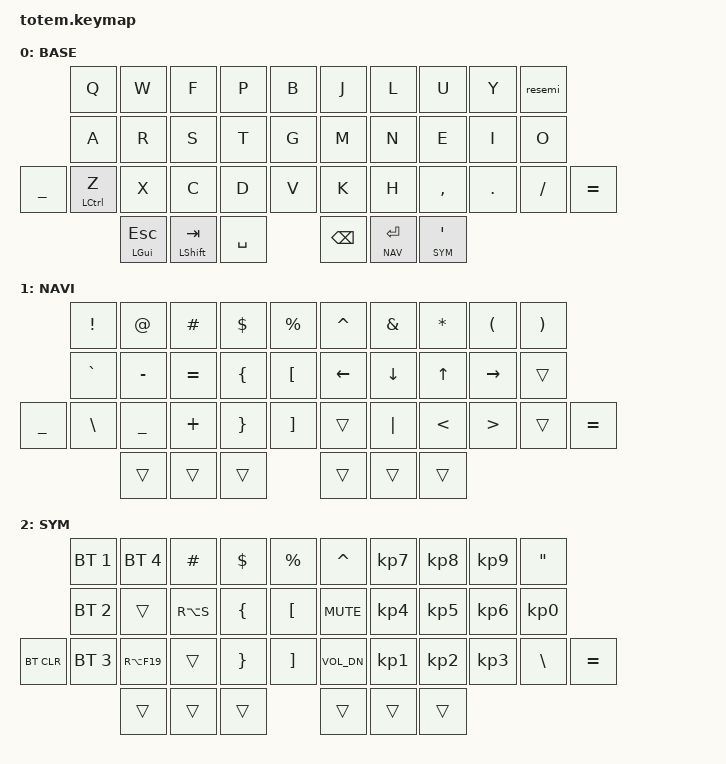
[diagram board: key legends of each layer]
//
//                                                        ▀▀▀▀▀     ▀▀▀▀▀          ▀▀█▀▀
//                                                        ▄▀▀▀▄  ▄  ▄▀▀▀▄  ▄  ▄▀▀▀▄  █  ▄▀▀▀▄
//                                                        █   █  █  █   █  █  █   █  █  █   █
//                                                         ▀▀▀   █   ▀▀▀   █   ▀▀▀   ▀   ▀▀▀
//                                                               █      ▄▄▄█▄▄▄    █   █  
//                                                               ▀      █  █  █     █▄█
//                                                             ▀▀▀▀▀    █  █  █      ▀
//                                                                      ▀  ▀  ▀
//
// ▄▄▄▄▄▄▄▄▄▄▄▄▄▄▄▄▄▄▄▄▄▄▄▄▄▄▄▄▄▄▄▄▄▄▄▄▄▄▄▄▄▄▄▄▄▄▄▄▄▄▄▄▄▄▄▄▄▄▄▄▄▄▄▄▄▄▄▄▄▄▄▄▄▄▄▄▄▄▄▄▄▄▄▄▄▄▄▄▄▄▄▄▄▄▄▄▄▄▄▄▄▄▄▄▄▄▄▄▄▄▄▄▄▄▄▄▄▄▄▄▄▄▄▄▄▄▄▄▄▄▄▄▄▄▄▄▄▄▄▄▄▄▄▄▄▄▄▄▄
       

#include <behaviors.dtsi>
#include <dt-bindings/zmk/keys.h>
#include <dt-bindings/zmk/bt.h>
#include <dt-bindings/zmk/outputs.h>

#define BASE 0
#define NAV  1
#define SYM  2

&mt {
  flavor = "balanced";
  tapping-term-ms = <140>;
};

/ {
    macros {
        macscn: macscn {
            label = "macscn";
            compatible = "zmk,behavior-macro";
            #binding-cells = <0>;
            bindings
                = <&macro_press &kp LGUI>
                , <&macro_press &kp LSHFT>
                , <&macro_tap &kp N4>
                , <&macro_release &kp LGUI>
                , <&macro_release &kp LSHFT>
                ;
        };
        backtab: backtab {
            label = "backtab";
            compatible = "zmk,behavior-macro";
            #binding-cells = <0>;
            bindings
                = <&macro_press &kp LSHFT>
                , <&macro_tap &kp TAB>
                , <&macro_release &kp LSHFT>
                ;
        };
    };

     combos {
            compatible = "zmk,combos";
            combo_backtab {
                timeout-ms = <50>;
                key-positions = <1 2>;
                bindings = <&backtab>;
            };
            combo_macscn {
                timeout-ms = <50>;
                key-positions = <2 3>;
                bindings = <&macscn>;
            };
            combo_back {
                timeout-ms = <50>;
                key-positions = <21 22>;
                bindings = <&kp BSPC>;
            };
            combo_enter {
                timeout-ms = <50>;
                key-positions = <22 23>;
                bindings = <&kp ENTER>;
            };
            combo_del {
                timeout-ms = <50>;
                key-positions = <23 24>;
                bindings = <&kp DEL>;
            };
    };

    behaviors {
        resemi: reverse_semicolon {
            compatible = "zmk,behavior-mod-morph";
            #binding-cells = <0>;
            bindings = <&kp COLON>, <&kp SEMI>;
            mods = <(MOD_LSFT|MOD_RSFT)>;
        };
    };

        keymap {
                compatible = "zmk,keymap";
                base_layer {
                    label= "BASE"                              ;
                    bindings = <
                &kp Q           &kp W      &kp F      &kp P      &kp B               &kp J      &kp L      &kp U          &kp Y        &resemi
                &kp A           &kp R      &kp S      &kp T      &kp G               &kp M      &kp N      &kp E          &kp I        &kp O
&kp UNDER       &mt LCTRL Z     &kp X      &kp C      &kp D      &kp V               &kp K      &kp H      &kp COMMA      &kp DOT      &kp FSLH      &kp EQUAL
                          &mt LGUI ESC &mt LSHFT TAB &kp SPACE                  &kp BSPC   &lt NAV ENTER &lt SYM SQT
                    >;
                };

                nav_layer {
                    label= "NAVI"                              ;
                    bindings = <
                &kp EXCL    &kp AT          &kp HASH    &kp DLLR          &kp PRCNT                &kp CARET   &kp AMPS           &kp STAR    &kp LPAR    &kp RPAR
                &kp GRAVE   &kp MINUS       &kp EQUAL   &kp LBRC          &kp LBKT                 &kp LEFT    &kp DOWN           &kp UP      &kp RIGHT   &trans
&kp UNDER       &kp BSLH    &kp UNDER       &kp PLUS    &kp RBRC          &kp RBKT                 &trans      &kp PIPE           &kp LT      &kp GT      &trans      &kp EQUAL
                           &trans          &trans      &trans                                      &trans      &trans             &trans
                    >;
                };

                sim_layer {
                    label= "SYM"                               ;
                    bindings = <
                   &bt BT_SEL 1    &bt BT_SEL 4      &kp HASH    &kp DLLR    &kp PRCNT       &kp CARET    &kp KP_N7   &kp KP_N8   &kp KP_N9     &kp DQT       
                   &bt BT_SEL 2   &trans          &kp RA(S)   &kp LBRC      &kp LBKT          &kp C_MUTE   &kp KP_N4   &kp KP_N5   &kp KP_N6     &kp KP_N0 
&bt BT_CLR          &bt BT_SEL 3   &kp RA(F19)     &trans      &kp RBRC      &kp RBKT          &kp C_VOL_DN &kp KP_N1   &kp KP_N2   &kp KP_N3     &kp BSLH   &kp EQUAL
                                        &trans      &trans        &trans         &trans      &trans    &trans      
                        >;
                };
        };
};
